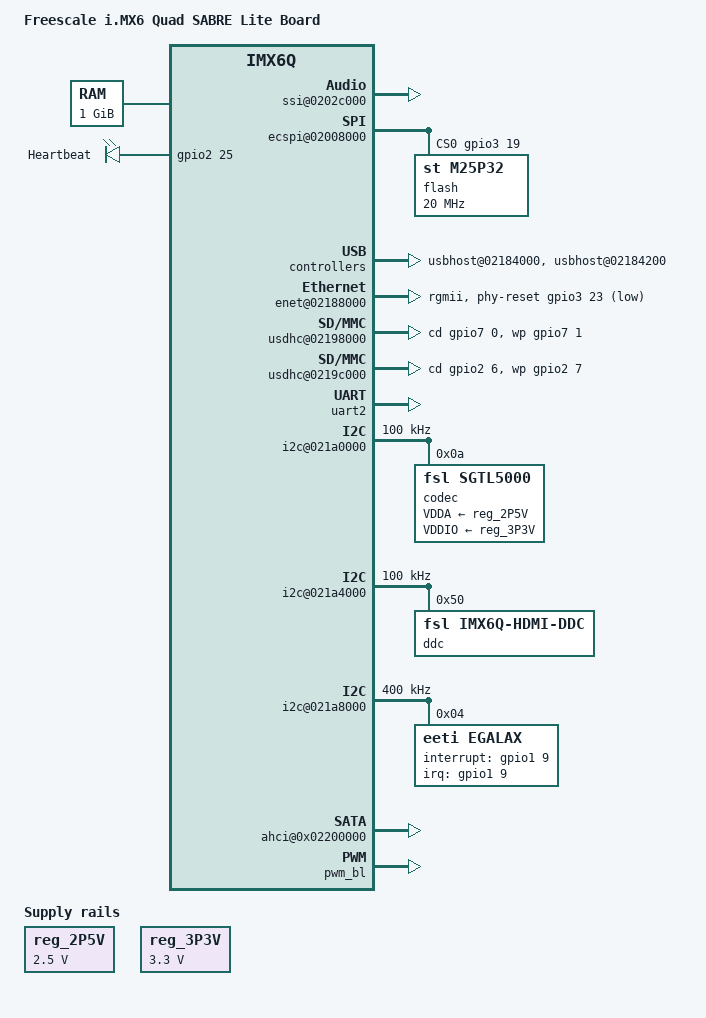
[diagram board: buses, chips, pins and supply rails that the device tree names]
/*
 * Copyright 2011 Freescale Semiconductor, Inc.
 * Copyright 2011 Linaro Ltd.
 *
 * The code contained herein is licensed under the GNU General Public
 * License. You may obtain a copy of the GNU General Public License
 * Version 2 or later at the following locations:
 *
 * http://www.opensource.org/licenses/gpl-license.html
 * http://www.gnu.org/copyleft/gpl.html
 */

/dts-v1/;
/include/ "imx6q.dtsi"

/ {
	model = "Freescale i.MX6 Quad SABRE Lite Board";
	compatible = "fsl,imx6q-sabrelite", "fsl,imx6q";

	memory {
		reg = <0x10000000 0x40000000>;
	};

	soc {
		aips-bus@02000000 { /* AIPS1 */
			spba-bus@02000000 {
				ssi@0202c000 { /* SSI2 */
					status = "okay";
					fsl,ssi-uses-dma;
					fsl,ssi-synchronous-mode;
				};

				ecspi@02008000 { /* eCSPI1 */
					fsl,spi-num-chipselects = <1>;
					cs-gpios = <&gpio3 19 0>;
					status = "okay";

					flash: m25p32@0 {
						compatible = "st,m25p32", "st,m25p";
						spi-max-frequency = <20000000>;
						reg = <0>;
					};
				};
			};

			ldb@020e0000 {
				disp-pwr-gpios = <&gpio1 0 0>; /* gpio2 0 */
				mode = "sin0";
				ext_ref = "true";
				lvds0 = <1 0>;
			};

			wdog@020bc000 { /* WDOG1 */
				status = "okay";
			};
		};

		aips-bus@02100000 { /* AIPS2 */
			usbhost@02184000 { /* USB OTG PORT */
				otg-pwr-gpios = <&gpio2 22 0>;
				status = "okay";
			};

			usbhost@02184200 { /* USB Host1 */
				hub-reset-gpios = <&gpio6 12 0>;
				status = "okay";
			};

			enet@02188000 {
				phy-mode = "rgmii";
				phy-reset-gpios = <&gpio3 23 0>;
				status = "okay";
			};

			usdhc@02198000 { /* uSDHC3 */
				cd-gpios = <&gpio7 0 0>;
				wp-gpios = <&gpio7 1 0>;
				status = "okay";
			};

			usdhc@0219c000 { /* uSDHC4 */
				cd-gpios = <&gpio2 6 0>;
				wp-gpios = <&gpio2 7 0>;
				status = "okay";
			};

			audmux@021d8000 {
				status = "okay";
			};

			uart2: uart@021e8000 {
				status = "okay";
			};

			i2c@021a0000 { /* I2C1 */
				status = "okay";
				clock-frequency = <100000>;

				codec: sgtl5000@0a {
					compatible = "fsl,sgtl5000";
					reg = <0x0a>;
					VDDA-supply = <&reg_2P5V>;
					VDDIO-supply = <&reg_3P3V>;
				};
			};

			i2c@021a4000 { /* I2C2 */
				status = "okay";
				clock-frequency = <100000>;

				ddc: ddc@50 {
					compatible = "fsl,imx6q-hdmi-ddc";
					reg = <0x50>;
				};
			};

			i2c@021a8000 { /* I2C3 */
				status = "okay";
				clock-frequency = <400000>;

				egalax@04 {
					compatible = "eeti,egalax";
					reg = <0x04>;
					interrupt-parent = <&gpio1>;
					interrupts = <9>;
					interrupt-gpio = <&gpio1 9 0>;
				};
			};
		};

		hdmi@0x00120000 { /* HDMI */
			ipu = <0>;
			di = <0>;
		};

		ahci@0x02200000 { /* AHCI SATA */
			status = "okay";
		};
	};

	leds {
		compatible = "gpio-leds";

		debug-led {
			label = "Heartbeat";
			gpios = <&gpio2 25 0>; /* GPIO3_25 */
			linux,default-trigger = "heartbeat";
		};
	};

	backlight {
		#address-cells = <1>;
		#size-cells = <0>;
		compatible = "simple-bus";

		pwm_bl {
			compatible = "pwm-bl";
			pwm-parent = <&pwm4>;
			max_brightness = <255>;
			dft_brightness = <128>;
			pwm_period_ns = <50000>;
		};
	};

	displays {
		#address-cells = <1>;
		#size-cells = <1>;
		compatible = "simple-bus";
		ranges;

		disp1: fb@0 {
			compatible = "fsl,mxcfb-ipuv3";
			disp_dev = "ldb";
			interface_pix_fmt = "RGB666";
			mode_str = "LDB-XGA";
			internal_clk = "false";
			reg = <0x00000000 0x0>;	/* reserve fb mem */
		};

		disp2: fb@1 {
			compatible = "fsl,mxcfb-ipuv3";
			disp_dev = "hdmi";
			interface_pix_fmt = "RGB24";
			mode_str = "1280x720M@60";
			internal_clk = "false";
			reg = <0x00000001 0x0>;	/* reserve fb mem */
		};

		v4l2-out@0 {
			compatible = "fsl,vout_ipuv3";
		};
	};

	regulators {
		compatible = "simple-bus";

		reg_2P5V: regulator-2P5V {
			compatible = "regulator-fixed";
			regulator-name = "2P5V";
			regulator-min-microvolt = <2500000>;
			regulator-max-microvolt = <2500000>;
			regulator-always-on;
		};

		reg_3P3V: regulator-3P3V {
			compatible = "regulator-fixed";
			regulator-name = "3P3V";
			regulator-min-microvolt = <3300000>;
			regulator-max-microvolt = <3300000>;
			regulator-always-on;
		};
	};
};
